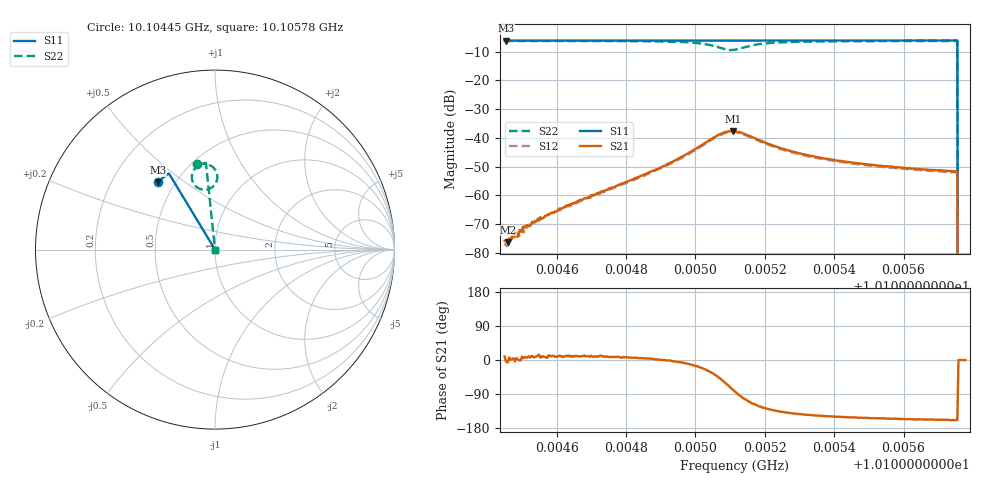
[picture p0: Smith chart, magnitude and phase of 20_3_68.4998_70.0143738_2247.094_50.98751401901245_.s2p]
#  HZ  S  RI  R  50.00
! Rohde & Schwarz Vector Network Analyzer
! Rohde-Schwarz,ZNB20-2Port,1311601062101988,3.16
! Created: UTC 3/20/2024, 4:49:24 PM
! freq[Hz]  re:S11  im:S11  re:S21  im:S21  re:S12  im:S12  re:S22  im:S22
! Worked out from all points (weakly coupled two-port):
!   401 points, 10.10445 GHz to 10.10578 GHz, reference 50 ohm
!   highest |S21| = -37.58 dB at 10.10511 GHz (marker M1); lowest = -76.3 dB at 10.10446 GHz (marker M2)
!   lowest |S11| = -6.2 dB at 10.10445 GHz (marker M3), VSWR 2.94, Z = 20.1 + j20 ohm
!   |S11| at or under -10 dB: 10.10576 GHz to end of sweep
!   |S22| runs from - to -6.3 dB; largest |S21 - S12| = 0.0014
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1.010445e10  -0.3189 0.3754  0.000159 2.66e-05  0.000132 -8.84e-06  -0.1016 0.4742
1.0104453e10  -0.3188 0.3754  0.000159 -6.54e-06  0.000147 -3.07e-06  -0.1013 0.4744
1.010446e10  -0.3185 0.3757  0.000153 -1.38e-05  0.000134 -8.83e-06  -0.1008 0.4744
1.0104493e10  -0.317 0.3772  0.000249 -5.52e-06  0.000194 2.57e-05  -0.0977 0.475
1.010451e10  -0.3162 0.3779  0.000288 4.14e-05  0.00026 3.78e-05  -0.0963 0.4752
1.0104536e10  -0.3149 0.379  0.000334 4.24e-05  0.000345 0.000114  -0.0938 0.4757
1.0104672e10  -0.3088 0.3844  0.000827 0.000145  0.000786 0.000203  -0.0796 0.4778
1.0104895e10  -0.2984 0.3933  0.00298 3.41e-05  0.00283 0.000309  -0.042 0.4752
1.0104994e10  -0.2932 0.397  0.00598 -0.00147  0.00582 -0.000844  -0.00566 0.453
1.0105051e10  -0.2904 0.3989  0.00811 -0.00585  0.00824 -0.00486  0.0129 0.4001
1.0105081e10  -0.2891 0.3996  0.00685 -0.0103  0.00747 -0.00918  -0.00828 0.3539
1.0105107e10  -0.2881 0.4004  0.00281 -0.0129  0.00378 -0.0121  -0.0587 0.3334
1.0105114e10  -0.2878 0.4006  0.00153 -0.0129  0.00251 -0.0123  -0.0722 0.3349
1.0105151e10  -0.2865 0.4021  -0.00342 -0.0105  -0.00236 -0.0105  -0.1211 0.3715
1.01052e10  -0.2842 0.4041  -0.005 -0.00662  -0.00428 -0.00677  -0.1275 0.4202
1.010527e10  -0.2809 0.407  -0.00458 -0.00389  -0.00407 -0.00411  -0.112 0.4512
1.0105337e10  -0.2776 0.4094  -0.00399 -0.00275  -0.00358 -0.00294  -0.0985 0.4637
1.0105433e10  -0.2728 0.4129  -0.00337 -0.00188  -0.00306 -0.00209  -0.0837 0.4726
1.0105559e10  -0.2666 0.4174  -0.00287 -0.00138  -0.00261 -0.00153  -0.0689 0.4785
1.0105749e10  -0.2571 0.424  -0.00244 -0.000955  -0.00224 -0.0011  -0.0511 0.4829
1.0105765e10  0 0  0 0  0 0  0 0
1.0105778e10  0 0  0 0  0 0  0 0
